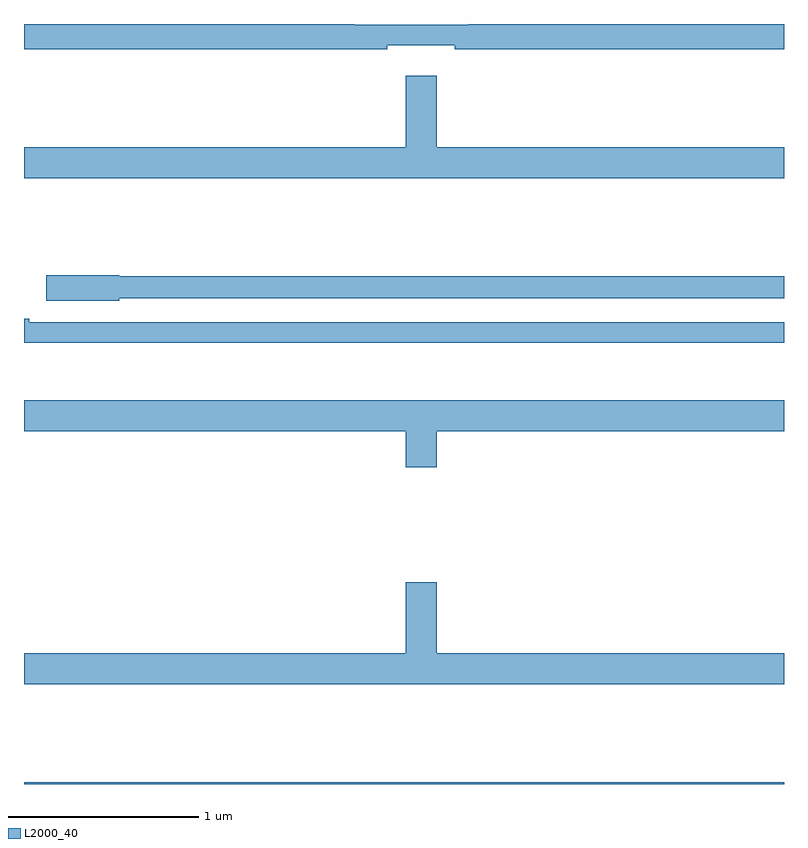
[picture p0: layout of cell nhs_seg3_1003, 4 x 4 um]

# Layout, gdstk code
import gdstk
lib = gdstk.Library(unit=1e-6, precision=1e-09)
def R(c, l, rs):  # rectangles x0, y0, x1, y1
    for r in rs: c.add(gdstk.rectangle(r[:2], r[2:], *l))
def P(c, l, *ps):  # polygons
    for p in ps: c.add(gdstk.Polygon(p, *l))
L2000_40 = (2000, 40)

nhs_seg3_1003 = lib.new_cell('nhs_seg3_1003')
R(nhs_seg3_1003, L2000_40, [(163,692.4,167,692.408)])
P(nhs_seg3_1003, L2000_40, [(164.912,696.287),(165.268,696.287),(165.268,696.268),(167,696.268),(167,696.4),(165.34,696.4),(165.34,696.397),(164.74,696.397),(164.74,696.4),(163,696.4),(163,696.268),(164.912,696.268)],
  [(167,695.752),(165.172,695.752),(165.172,696.127),(165.008,696.127),(165.008,695.752),(163,695.752),(163,695.588),(167,695.588)],
  [(163.5,694.956),(167,694.956),(167,695.072),(163.5,695.072),(163.5,695.078),(163.116,695.078),(163.116,694.943),(163.5,694.943)],
  [(167,694.83),(163.028,694.83),(163.028,694.85),(163,694.85),(163,694.722),(167,694.722)],
  [(165.172,694.256),(167,694.256),(167,694.42),(163,694.42),(163,694.256),(165.008,694.256),(165.008,694.068),(165.172,694.068)],
  [(167,693.088),(165.172,693.088),(165.172,693.463),(165.008,693.463),(165.008,693.088),(163,693.088),(163,692.924),(167,692.924)])

lib.write_gds('nhs_seg3_1003.gds')
